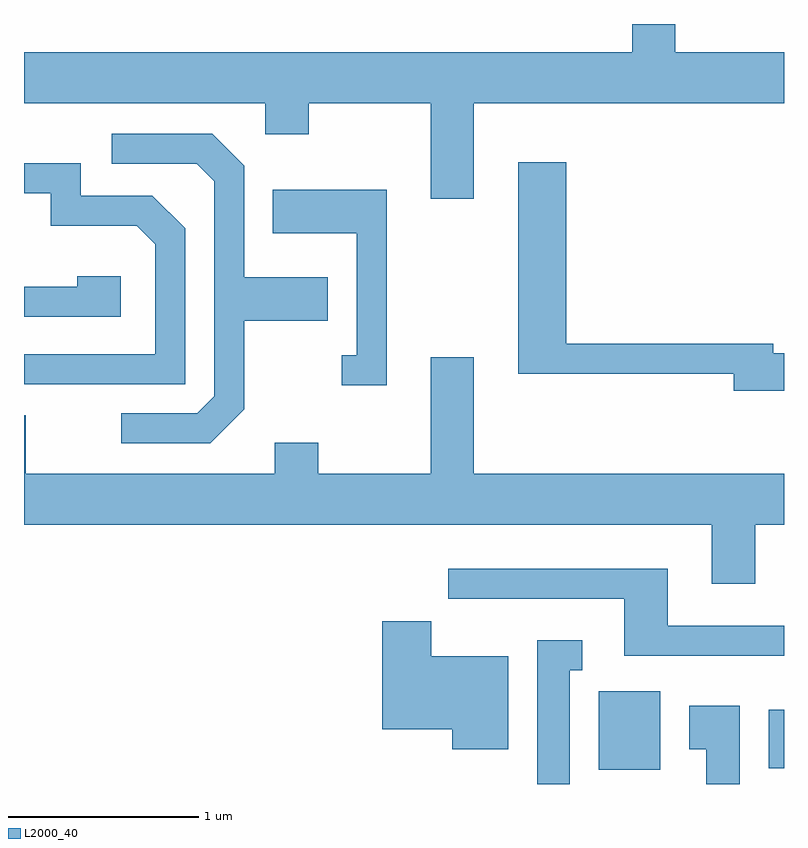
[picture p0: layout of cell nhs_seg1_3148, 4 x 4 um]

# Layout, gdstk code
import gdstk
lib = gdstk.Library(unit=1e-6, precision=1e-09)
def R(c, l, rs):  # rectangles x0, y0, x1, y1
    for r in rs: c.add(gdstk.rectangle(r[:2], r[2:], *l))
def P(c, l, *ps):  # polygons
    for p in ps: c.add(gdstk.Polygon(p, *l))
L2000_40 = (2000, 40)

nhs_seg1_3148 = lib.new_cell('nhs_seg1_3148')
R(nhs_seg1_3148, L2000_40, [(282.636,953.786,282.959,954.199), (283.531,953.796,283.611,954.104)])
P(nhs_seg1_3148, L2000_40, [(281.979,957.296),(283.611,957.296),(283.611,957.564),(283.039,957.564),(283.039,957.712),(282.811,957.712),(282.811,957.564),(279.611,957.564),(279.611,957.296),(280.881,957.296),(280.881,957.131),(281.109,957.131),(281.109,957.296),(281.751,957.296),(281.751,956.791),(281.979,956.791)],
  [(280.769,955.684),(280.769,956.151),(281.209,956.151),(281.209,956.379),(280.769,956.379),(280.769,956.967),(280.602,957.134),(280.073,957.134),(280.073,956.976),(280.519,956.976),(280.611,956.884),(280.611,955.752),(280.524,955.664),(280.123,955.664),(280.123,955.506),(280.592,955.506)],
  [(283.611,955.979),(283.554,955.979),(283.554,956.029),(282.464,956.029),(282.464,956.984),(282.211,956.984),(282.211,955.871),(283.346,955.871),(283.346,955.781),(283.611,955.781)],
  [(280.459,956.637),(280.287,956.809),(279.909,956.809),(279.909,956.979),(279.611,956.979),(279.611,956.821),(279.751,956.821),(279.751,956.651),(280.204,956.651),(280.301,956.554),(280.301,955.974),(279.611,955.974),(279.611,955.816),(280.459,955.816)],
  [(281.519,956.839),(280.921,956.839),(280.921,956.611),(281.361,956.611),(281.361,955.969),(281.283,955.969),(281.283,955.811),(281.519,955.811)],
  [(280.119,956.384),(279.891,956.384),(279.891,956.329),(279.611,956.329),(279.611,956.171),(280.119,956.171)],
  [(283.459,955.076),(283.611,955.076),(283.611,955.344),(281.979,955.344),(281.979,955.959),(281.751,955.959),(281.751,955.344),(281.159,955.344),(281.159,955.509),(280.931,955.509),(280.931,955.344),(279.619,955.344),(279.619,955.654),(279.611,955.654),(279.611,955.076),(283.231,955.076),(283.231,954.766),(283.459,954.766)],
  [(283.611,954.544),(282.999,954.544),(282.999,954.844),(281.843,954.844),(281.843,954.686),(282.771,954.686),(282.771,954.386),(283.611,954.386)],
  [(282.159,954.384),(281.754,954.384),(281.754,954.569),(281.496,954.569),(281.496,954.001),(281.866,954.001),(281.866,953.896),(282.159,953.896)],
  [(282.484,954.311),(282.548,954.311),(282.548,954.469),(282.311,954.469),(282.311,953.712),(282.484,953.712)],
  [(283.379,954.124),(283.111,954.124),(283.111,953.896),(283.201,953.896),(283.201,953.712),(283.379,953.712)])

lib.write_gds('nhs_seg1_3148.gds')
